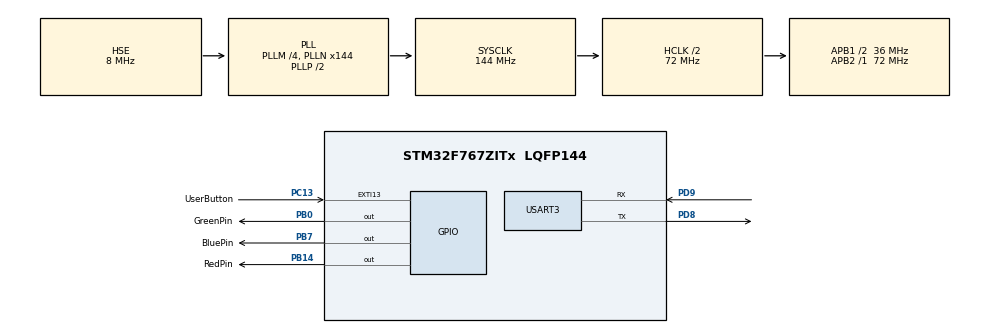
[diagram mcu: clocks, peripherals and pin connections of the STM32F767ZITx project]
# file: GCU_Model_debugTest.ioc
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Dma.Request0=USART3_TX
Dma.USART3_TX.0.Direction=DMA_MEMORY_TO_PERIPH
Dma.USART3_TX.0.FIFOMode=DMA_FIFOMODE_DISABLE
Dma.USART3_TX.0.Instance=DMA1_Stream3
Dma.USART3_TX.0.MemDataAlignment=DMA_MDATAALIGN_BYTE
Dma.USART3_TX.0.MemInc=DMA_MINC_ENABLE
Dma.USART3_TX.0.Mode=DMA_NORMAL
Dma.USART3_TX.0.PeriphDataAlignment=DMA_PDATAALIGN_BYTE
Dma.USART3_TX.0.PeriphInc=DMA_PINC_DISABLE
Dma.USART3_TX.0.Priority=DMA_PRIORITY_LOW
Mcu.Family=STM32F7
Mcu.Name=STM32F767ZITx
Mcu.Package=LQFP144
NVIC.DMA1_Stream3_IRQn=true\:0\:0\:false\:false\:true\:false\:true
NVIC.PriorityGroup=NVIC_PRIORITYGROUP_4
NVIC.TIM2_IRQn=true\:0\:0\:false\:false\:true\:true\:true
NVIC.USART3_IRQn=true\:0\:0\:false\:false\:true\:true\:true
PB0.GPIO_Label=GreenPin
PB0.Signal=GPIO_Output
PB14.GPIO_Label=RedPin
PB14.Signal=GPIO_Output
PB7.GPIO_Label=BluePin
PB7.Signal=GPIO_Output
PC13.GPIO_Label=UserButton
PC13.GPIO_ModeDefaultEXTI=GPIO_MODE_IT_RISING
PC13.Signal=GPXTI13
PD8.Mode=Asynchronous
PD8.Signal=USART3_TX
PD9.Mode=Asynchronous
PD9.Signal=USART3_RX
PH0/OSC_IN.Mode=HSE-External-Oscillator
PH0/OSC_IN.Signal=RCC_OSC_IN
PH1/OSC_OUT.Mode=HSE-External-Oscillator
PH1/OSC_OUT.Signal=RCC_OSC_OUT
ProjectManager.HeapSize=0x200
ProjectManager.StackSize=0x400
ProjectManager.TargetToolchain=MDK-ARM V5
RCC.48MHZClocksFreq_Value=24000000
RCC.AHBCLKDivider=RCC_SYSCLK_DIV2
RCC.AHBFreq_Value=72000000
RCC.APB1CLKDivider=RCC_HCLK_DIV2
RCC.APB1Freq_Value=36000000
RCC.APB1TimFreq_Value=72000000
RCC.APB2Freq_Value=72000000
RCC.APB2TimFreq_Value=72000000
RCC.CortexFreq_Value=72000000
RCC.HCLKFreq_Value=72000000
RCC.HSE_VALUE=8000000
RCC.HSI_VALUE=16000000
RCC.LSE_VALUE=32768
RCC.PLLM=4
RCC.PLLMUL=RCC_PLL_MUL9
RCC.PLLN=144
RCC.PLLQ=4
RCC.PLLSourceVirtual=RCC_PLLSOURCE_HSE
RCC.PRESCALERUSB=RCC_USBCLKSOURCE_PLL_DIV1_5
RCC.SYSCLKFreq_VALUE=144000000
RCC.SYSCLKSource=RCC_SYSCLKSOURCE_PLLCLK
RCC.SYSCLKSourceVirtual=RCC_SYSCLKSOURCE_PLLCLK
RCC.USBFreq_Value=72000000
RCC.VCOOutputFreq_Value=288000000
TIM2.Period=72
TIM2.Prescaler=1000
USART3.VirtualMode-Asynchronous=VM_ASYNC
VP_TIM2_VS_ClockSourceINT.Mode=Internal
board=NUCLEO-F767ZI

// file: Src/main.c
/**
  ******************************************************************************
  * @file           : main.c
  * @brief          : Main program body
  ******************************************************************************
  ** This notice applies to any and all portions of this file
  * that are not between comment pairs USER CODE BEGIN and
  * USER CODE END. Other portions of this file, whether
  * inserted by the user or by software development tools
  * are owned by their respective copyright owners.
  *
  * COPYRIGHT(c) 2019 STMicroelectronics
  *
  * Redistribution and use in source and binary forms, with or without modification,
  * are permitted provided that the following conditions are met:
  *   1. Redistributions of source code must retain the above copyright notice,
  *      this list of conditions and the following disclaimer.
  *   2. Redistributions in binary form must reproduce the above copyright notice,
  *      this list of conditions and the following disclaimer in the documentation
  *      and/or other materials provided with the distribution.
  *   3. Neither the name of STMicroelectronics nor the names of its contributors
  *      may be used to endorse or promote products derived from this software
  *      without specific prior written permission.
  *
  * THIS SOFTWARE IS PROVIDED BY THE COPYRIGHT HOLDERS AND CONTRIBUTORS "AS IS"
  * AND ANY EXPRESS OR IMPLIED WARRANTIES, INCLUDING, BUT NOT LIMITED TO, THE
  * IMPLIED WARRANTIES OF MERCHANTABILITY AND FITNESS FOR A PARTICULAR PURPOSE ARE
  * DISCLAIMED. IN NO EVENT SHALL THE COPYRIGHT HOLDER OR CONTRIBUTORS BE LIABLE
  * FOR ANY DIRECT, INDIRECT, INCIDENTAL, SPECIAL, EXEMPLARY, OR CONSEQUENTIAL
  * DAMAGES (INCLUDING, BUT NOT LIMITED TO, PROCUREMENT OF SUBSTITUTE GOODS OR
  * SERVICES; LOSS OF USE, DATA, OR PROFITS; OR BUSINESS INTERRUPTION) HOWEVER
  * CAUSED AND ON ANY THEORY OF LIABILITY, WHETHER IN CONTRACT, STRICT LIABILITY,
  * OR TORT (INCLUDING NEGLIGENCE OR OTHERWISE) ARISING IN ANY WAY OUT OF THE USE
  * OF THIS SOFTWARE, EVEN IF ADVISED OF THE POSSIBILITY OF SUCH DAMAGE.
  *
  ******************************************************************************
  */
#include "main.h"
#include "stm32f7xx_hal.h"

/* USER CODE BEGIN Includes */
#include "GCU_Timer_debug.h"
#include "string.h"

#define DIM 10
/* USER CODE END Includes */

TIM_HandleTypeDef htim2;

UART_HandleTypeDef huart3;
DMA_HandleTypeDef hdma_usart3_tx;

/* USER CODE BEGIN PV */
/* Private variables ---------------------------------------------------------*/
int count = 9, serialCount = 0;
/* USER CODE END PV */

void SystemClock_Config(void);
static void MX_GPIO_Init(void);
static void MX_DMA_Init(void);
static void MX_USART3_UART_Init(void);
static void MX_TIM2_Init(void);

/* USER CODE BEGIN PFP */
/* Private function prototypes -----------------------------------------------*/

/* USER CODE END PFP */

/* USER CODE BEGIN 0 */
uint8_t tempMsg[24];
uint8_t rxData[DIM], readData = 0;
int flag = 0;
char header[] = "hdr", temp[] = {0,0,0};

/*void HAL_UART_RxCpltCallback(UART_HandleTypeDef *huart)
{
	__disable_irq();

	if(!readData)
	{
		temp[0] = temp[1];
		temp[1] = temp[2];
		temp[2] = rxData[0];
	}
	else
	{
		readData = 0;

		for(int i=0; i<DIM;i++)
			rtU.dataBuffer[i] = rxData[i];
			flag = 1;
		//HAL_GPIO_TogglePin(GPIOB, BluePin_Pin);
		GCU_CAN_debug_step1();
	}
	if(!strncmp(header, temp, 3))
	{
		readData = 1;
		HAL_UART_Receive_IT(&huart3, rxData, DIM);

		for(int i = 0; i<3; i++)
			temp[i] = 0;
	}
	else HAL_UART_Receive_IT(&huart3, rxData, 1);

	//HAL_UART_Transmit(&huart3, rxData, 4, 10);
	 __enable_irq();
}	*/
/* USER CODE END 0 */

int main(void)
{

  /* MCU Configuration----------------------------------------------------------*/

  /* Reset of all peripherals, Initializes the Flash interface and the Systick. */
  HAL_Init();

  /* Configure the system clock */
  SystemClock_Config();

  /* Initialize all configured peripherals */
  MX_GPIO_Init();
  MX_DMA_Init();
  MX_USART3_UART_Init();
  MX_TIM2_Init();
  /* USER CODE BEGIN 2 */
  HAL_TIM_Base_Start_IT(&htim2);
	//HAL_UART_Receive_IT(&huart3, rxData, 1);
	GCU_Timer_debug_initialize();

  /* USER CODE END 2 */

  /* Infinite loop */
  while (1)
  {

  }

}

void SystemClock_Config(void)
{

  RCC_OscInitTypeDef RCC_OscInitStruct;
  RCC_ClkInitTypeDef RCC_ClkInitStruct;
  RCC_PeriphCLKInitTypeDef PeriphClkInitStruct;

    /**Configure the main internal regulator output voltage
    */
  __HAL_RCC_PWR_CLK_ENABLE();

  __HAL_PWR_VOLTAGESCALING_CONFIG(PWR_REGULATOR_VOLTAGE_SCALE3);

    /**Initializes the CPU, AHB and APB busses clocks
    */
  RCC_OscInitStruct.OscillatorType = RCC_OSCILLATORTYPE_HSE;
  RCC_OscInitStruct.HSEState = RCC_HSE_ON;
  RCC_OscInitStruct.PLL.PLLState = RCC_PLL_ON;
  RCC_OscInitStruct.PLL.PLLSource = RCC_PLLSOURCE_HSE;
  RCC_OscInitStruct.PLL.PLLM = 4;
  RCC_OscInitStruct.PLL.PLLN = 144;
  RCC_OscInitStruct.PLL.PLLP = RCC_PLLP_DIV2;
  RCC_OscInitStruct.PLL.PLLQ = 4;
  if (HAL_RCC_OscConfig(&RCC_OscInitStruct) != HAL_OK)
  {
    _Error_Handler(__FILE__, __LINE__);
  }

    /**Initializes the CPU, AHB and APB busses clocks
    */
  RCC_ClkInitStruct.ClockType = RCC_CLOCKTYPE_HCLK|RCC_CLOCKTYPE_SYSCLK
                              |RCC_CLOCKTYPE_PCLK1|RCC_CLOCKTYPE_PCLK2;
  RCC_ClkInitStruct.SYSCLKSource = RCC_SYSCLKSOURCE_PLLCLK;
  RCC_ClkInitStruct.AHBCLKDivider = RCC_SYSCLK_DIV2;
  RCC_ClkInitStruct.APB1CLKDivider = RCC_HCLK_DIV2;
  RCC_ClkInitStruct.APB2CLKDivider = RCC_HCLK_DIV1;

  if (HAL_RCC_ClockConfig(&RCC_ClkInitStruct, FLASH_LATENCY_2) != HAL_OK)
  {
    _Error_Handler(__FILE__, __LINE__);
  }

  PeriphClkInitStruct.PeriphClockSelection = RCC_PERIPHCLK_USART3;
  PeriphClkInitStruct.Usart3ClockSelection = RCC_USART3CLKSOURCE_PCLK1;
  if (HAL_RCCEx_PeriphCLKConfig(&PeriphClkInitStruct) != HAL_OK)
  {
    _Error_Handler(__FILE__, __LINE__);
  }

    /**Configure the Systick interrupt time
    */
  HAL_SYSTICK_Config(HAL_RCC_GetHCLKFreq()/1000);

    /**Configure the Systick
    */
  HAL_SYSTICK_CLKSourceConfig(SYSTICK_CLKSOURCE_HCLK);

  /* SysTick_IRQn interrupt configuration */
  HAL_NVIC_SetPriority(SysTick_IRQn, 0, 0);
}

/* TIM2 init function */
static void MX_TIM2_Init(void)
{

  TIM_ClockConfigTypeDef sClockSourceConfig;
  TIM_MasterConfigTypeDef sMasterConfig;

  htim2.Instance = TIM2;
  htim2.Init.Prescaler = 1000;
  htim2.Init.CounterMode = TIM_COUNTERMODE_UP;
  htim2.Init.Period = 72;
  htim2.Init.ClockDivision = TIM_CLOCKDIVISION_DIV1;
  htim2.Init.AutoReloadPreload = TIM_AUTORELOAD_PRELOAD_DISABLE;
  if (HAL_TIM_Base_Init(&htim2) != HAL_OK)
  {
    _Error_Handler(__FILE__, __LINE__);
  }

  sClockSourceConfig.ClockSource = TIM_CLOCKSOURCE_INTERNAL;
  if (HAL_TIM_ConfigClockSource(&htim2, &sClockSourceConfig) != HAL_OK)
  {
    _Error_Handler(__FILE__, __LINE__);
  }

  sMasterConfig.MasterOutputTrigger = TIM_TRGO_RESET;
  sMasterConfig.MasterSlaveMode = TIM_MASTERSLAVEMODE_DISABLE;
  if (HAL_TIMEx_MasterConfigSynchronization(&htim2, &sMasterConfig) != HAL_OK)
  {
    _Error_Handler(__FILE__, __LINE__);
  }

}

/* USART3 init function */
static void MX_USART3_UART_Init(void)
{

  huart3.Instance = USART3;
  huart3.Init.BaudRate = 115200;
  huart3.Init.WordLength = UART_WORDLENGTH_8B;
  huart3.Init.StopBits = UART_STOPBITS_1;
  huart3.Init.Parity = UART_PARITY_NONE;
  huart3.Init.Mode = UART_MODE_TX_RX;
  huart3.Init.HwFlowCtl = UART_HWCONTROL_NONE;
  huart3.Init.OverSampling = UART_OVERSAMPLING_16;
  huart3.Init.OneBitSampling = UART_ONE_BIT_SAMPLE_DISABLE;
  huart3.AdvancedInit.AdvFeatureInit = UART_ADVFEATURE_NO_INIT;
  if (HAL_UART_Init(&huart3) != HAL_OK)
  {
    _Error_Handler(__FILE__, __LINE__);
  }

}

static void MX_DMA_Init(void)
{
  /* DMA controller clock enable */
  __HAL_RCC_DMA1_CLK_ENABLE();

  /* DMA interrupt init */
  /* DMA1_Stream3_IRQn interrupt configuration */
  HAL_NVIC_SetPriority(DMA1_Stream3_IRQn, 0, 0);
  HAL_NVIC_EnableIRQ(DMA1_Stream3_IRQn);

}

/** Configure pins as
        * Analog
        * Input
        * Output
        * EVENT_OUT
        * EXTI
*/
static void MX_GPIO_Init(void)
{

  GPIO_InitTypeDef GPIO_InitStruct;

  /* GPIO Ports Clock Enable */
  __HAL_RCC_GPIOC_CLK_ENABLE();
  __HAL_RCC_GPIOH_CLK_ENABLE();
  __HAL_RCC_GPIOB_CLK_ENABLE();
  __HAL_RCC_GPIOD_CLK_ENABLE();

  /*Configure GPIO pin Output Level */
  HAL_GPIO_WritePin(GPIOB, GreenPin_Pin|RedPin_Pin|BluePin_Pin, GPIO_PIN_RESET);

  /*Configure GPIO pin : UserButton_Pin */
  GPIO_InitStruct.Pin = UserButton_Pin;
  GPIO_InitStruct.Mode = GPIO_MODE_IT_RISING;
  GPIO_InitStruct.Pull = GPIO_NOPULL;
  HAL_GPIO_Init(UserButton_GPIO_Port, &GPIO_InitStruct);

  /*Configure GPIO pins : GreenPin_Pin RedPin_Pin BluePin_Pin */
  GPIO_InitStruct.Pin = GreenPin_Pin|RedPin_Pin|BluePin_Pin;
  GPIO_InitStruct.Mode = GPIO_MODE_OUTPUT_PP;
  GPIO_InitStruct.Pull = GPIO_NOPULL;
  GPIO_InitStruct.Speed = GPIO_SPEED_FREQ_LOW;
  HAL_GPIO_Init(GPIOB, &GPIO_InitStruct);

}

/* USER CODE BEGIN 4 */
void HAL_TIM_PeriodElapsedCallback(TIM_HandleTypeDef *htim)
{
	__disable_irq();

	//HAL_GPIO_WritePin(GPIOB, BluePin_Pin, GPIO_PIN_SET);

	if(htim->Instance == TIM2)
	{
		GCU_Timer_debug_step1();

		if(serialCount == 49)
		{
			GCU_Timer_debug_step2();

		  serialCount = 0;

		}
		else serialCount++;

		if(count == 499)
		{
			//char msg[1]={'a'};
			HAL_GPIO_TogglePin(GPIOB, BluePin_Pin);
			//HAL_UART_Transmit(&huart3, (uint8_t *) msg, /*WIDTH*/1 , 1);
			//GCU_Model_genCode_step0();
			count = 0;
		}
    else count++;

	}
	//HAL_GPIO_WritePin(GPIOB, BluePin_Pin, GPIO_PIN_RESET);
  __enable_irq();
}
/* USER CODE END 4 */

void _Error_Handler(char *file, int line)
{
  while(1)
  {
  }
}

/************************ (C) COPYRIGHT STMicroelectronics *****END OF FILE****/
